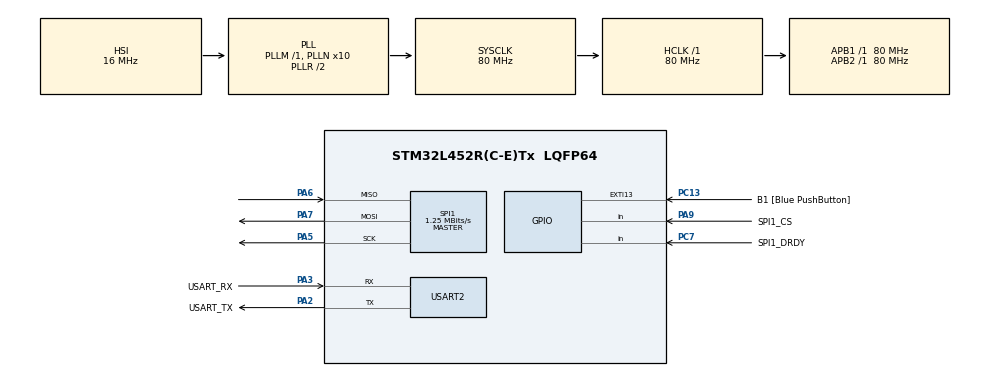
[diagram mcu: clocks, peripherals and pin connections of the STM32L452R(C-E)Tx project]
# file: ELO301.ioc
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Mcu.Family=STM32L4
Mcu.Name=STM32L452R(C-E)Tx
Mcu.Package=LQFP64
NVIC.PriorityGroup=NVIC_PRIORITYGROUP_4
PA13\ (JTMS/SWDIO).GPIO_Label=TMS
PA13\ (JTMS/SWDIO).Mode=Serial_Wire
PA13\ (JTMS/SWDIO).Signal=SYS_JTMS-SWDIO
PA14\ (JTCK/SWCLK).GPIO_Label=TCK
PA14\ (JTCK/SWCLK).Mode=Serial_Wire
PA14\ (JTCK/SWCLK).Signal=SYS_JTCK-SWCLK
PA2.GPIO_Label=USART_TX
PA2.GPIO_Mode=GPIO_MODE_AF_PP
PA2.GPIO_PuPd=GPIO_NOPULL
PA2.GPIO_Speed=GPIO_SPEED_FREQ_VERY_HIGH
PA2.Mode=Asynchronous
PA2.Signal=USART2_TX
PA3.GPIO_Label=USART_RX
PA3.GPIO_Mode=GPIO_MODE_AF_PP
PA3.GPIO_PuPd=GPIO_NOPULL
PA3.GPIO_Speed=GPIO_SPEED_FREQ_VERY_HIGH
PA3.Mode=Asynchronous
PA3.Signal=USART2_RX
PA5.Mode=Full_Duplex_Master
PA5.Signal=SPI1_SCK
PA6.Mode=Full_Duplex_Master
PA6.Signal=SPI1_MISO
PA7.Mode=Full_Duplex_Master
PA7.Signal=SPI1_MOSI
PA9.GPIO_Label=SPI1_CS
PA9.Signal=GPIO_Input
PB3\ (JTDO/TRACESWO).GPIO_Label=SWO
PB3\ (JTDO/TRACESWO).Signal=SYS_JTDO-SWO
PC13.GPIO_Label=B1 [Blue PushButton]
PC13.GPIO_ModeDefaultEXTI=GPIO_MODE_IT_FALLING
PC13.GPIO_PuPd=GPIO_NOPULL
PC13.Signal=GPXTI13
PC14-OSC32_IN\ (PC14).Mode=LSE-External-Oscillator
PC14-OSC32_IN\ (PC14).Signal=RCC_OSC32_IN
PC15-OSC32_OUT\ (PC15).Mode=LSE-External-Oscillator
PC15-OSC32_OUT\ (PC15).Signal=RCC_OSC32_OUT
PC7.GPIO_Label=SPI1_DRDY
PC7.Signal=GPIO_Input
PH0-OSC_IN\ (PH0).Signal=RCC_OSC_IN
PH1-OSC_OUT\ (PH1).Signal=RCC_OSC_OUT
ProjectManager.HeapSize=0x200
ProjectManager.StackSize=0x400
ProjectManager.TargetToolchain=STM32CubeIDE
RCC.ADCFreq_Value=64000000
RCC.AHBFreq_Value=80000000
RCC.APB1Freq_Value=80000000
RCC.APB1TimFreq_Value=80000000
RCC.APB2Freq_Value=80000000
RCC.APB2TimFreq_Value=80000000
RCC.CortexFreq_Value=80000000
RCC.HCLKFreq_Value=80000000
RCC.HSE_VALUE=8000000
RCC.HSI48_VALUE=48000000
RCC.HSI_VALUE=16000000
RCC.MSI_VALUE=4000000
RCC.PLLN=10
RCC.PLLSourceVirtual=RCC_PLLSOURCE_HSI
RCC.PREFETCH_ENABLE=1
RCC.SYSCLKFreq_VALUE=80000000
RCC.SYSCLKSource=RCC_SYSCLKSOURCE_PLLCLK
RCC.USBFreq_Value=64000000
RCC.VCOOutputFreq_Value=160000000
SPI1.BaudRatePrescaler=SPI_BAUDRATEPRESCALER_64
SPI1.CLKPhase=SPI_PHASE_2EDGE
SPI1.CalculateBaudRate=1.25 MBits/s
SPI1.DataSize=SPI_DATASIZE_8BIT
SPI1.Direction=SPI_DIRECTION_2LINES
SPI1.Mode=SPI_MODE_MASTER
SPI1.VirtualType=VM_MASTER
USART2.VirtualMode-Asynchronous=VM_ASYNC
board=NUCLEO-L452RE

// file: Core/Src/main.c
/* USER CODE BEGIN Header */
/**
  ******************************************************************************
  * @file           : main.c
  * @brief          : Main program body
  ******************************************************************************
  * @attention
  *
  * Copyright (c) 2024 STMicroelectronics.
  * All rights reserved.
  *
  * This software is licensed under terms that can be found in the LICENSE file
  * in the root directory of this software component.
  * If no LICENSE file comes with this software, it is provided AS-IS.
  *
  ******************************************************************************
  */
/* USER CODE END Header */
#include "main.h"

/* USER CODE BEGIN Includes */
#include "stdio.h"
#include "ads1220.h"
#include "math.h"
/* USER CODE END Includes */

/* USER CODE BEGIN PD */
#define N 1000  // Numero de muestras para calcular la sumatoria
/* USER CODE END PD */

SPI_HandleTypeDef hspi1;

UART_HandleTypeDef huart2;

/* USER CODE BEGIN PV */
uint16_t adc_buffer[N];  // ADC buffer to store samples
float valor_rms;
/* USER CODE END PV */

void SystemClock_Config(void);
static void MX_GPIO_Init(void);
static void MX_USART2_UART_Init(void);
static void MX_SPI1_Init(void);
void calcular_rms();

/* USER CODE BEGIN 0 */

void calcular_rms() {

	float suma_cuadrados = 0.0f;

    // Se hace la suma acomulada de cuadrados
    for (int i = 0; i < N; i++) {
        float current = (float)(adc_buffer[i]); // Revisar si es necesario centrar en cero ( - 2048, o algun otro numero)
        suma_cuadrados += current * current;
    }

    // Se divide la suma por el numero de muestras
    float mean_square = suma_cuadrados / N;

    // Se calcula la raiz cuadrada para obtener rms
    valor_rms = sqrtf(mean_square);
}
/* USER CODE END 0 */

int main(void)
{
  /* USER CODE BEGIN 1 */
  char uart_buf[50];
  int uart_buf_len;
  char spi_buf[20];
  uint16_t sample_counter = 0;
  /* USER CODE END 1 */

  /* MCU Configuration--------------------------------------------------------*/

  /* Reset of all peripherals, Initializes the Flash interface and the Systick. */
  HAL_Init();

  /* Configure the system clock */
  SystemClock_Config();

  /* Initialize all configured peripherals */
  MX_GPIO_Init();
  MX_USART2_UART_Init();
  MX_SPI1_Init();
  /* USER CODE BEGIN 2 */

  ADS1220_Select();//!CS=0

  //Say something
  uart_buf_len=sprintf(uart_buf,"SPI test:\r\n");
  HAL_UART_Transmit(&huart2, (uint8_t *)uart_buf, uart_buf_len, 100);

  //Leer registros 0 y 1 ADC
  uint8_t command_leer=0x21;
  uint8_t recive_data[2];

  HAL_SPI_Transmit(&hspi1, &command_leer, 1, HAL_MAX_DELAY);
  HAL_SPI_Receive(&hspi1, recive_data, 2, HAL_MAX_DELAY);

  //Envio uart
  uart_buf_len=sprintf(uart_buf,"Registro 0: 0x%02X, Registro 1: 0x%02X\r\n",recive_data[0],recive_data[1]);
  HAL_UART_Transmit(&huart2, (uint8_t *)uart_buf, uart_buf_len, 100);

  //escribir registro 1 CM=1
  uint8_t command_escribir=0x44;
  uint8_t gain2=0b0100;

  HAL_SPI_Transmit(&hspi1, &command_escribir, 1, HAL_MAX_DELAY);
  HAL_SPI_Transmit(&hspi1, &gain2, 1, HAL_MAX_DELAY);

  //Se recomienda luego de Write CM=1, realizar un START CMD
  uint8_t start_command=ADS1220_START_SYNC_CMD;
  HAL_SPI_Transmit(&hspi1, &start_command, 1, HAL_MAX_DELAY);

  //Leer reg
  HAL_SPI_Transmit(&hspi1, &command_leer, 1, HAL_MAX_DELAY);
  HAL_SPI_Receive(&hspi1, recive_data, 2, HAL_MAX_DELAY);

  //Envio uart
  uart_buf_len=sprintf(uart_buf,"Registro Nuevo 0: 0x%02X, Registro Nuevo 1: 0x%02X\r\n",recive_data[0],recive_data[1]);
  HAL_UART_Transmit(&huart2, (uint8_t *)uart_buf, uart_buf_len, 100);

  uart_buf[50]=0;
  /* USER CODE END 2 */

  /* Infinite loop */
  /* USER CODE BEGIN WHILE */
  int32_t conversionResult;
  while (1)
  {
	  ADS1220_ReadData(&conversionResult);
	  //uart_buf_len=sprintf(uart_buf,"Data read: 0x%02X \r\n",conversionResult);
	  uart_buf_len=sprintf(uart_buf,"RMS Data: 0x%02X \r\n",(int32_t)valor_rms);
	  HAL_UART_Transmit(&huart2, (uint8_t *)uart_buf, uart_buf_len, 100);

	  if(sample_counter < N) {
		  adc_buffer[sample_counter] = conversionResult;
		  sample_counter++;
	  } else {
		  calcular_rms();
		  sample_counter = 0;
	  }
	  // enviar valor_rms a la pantalla
	  HAL_Delay(10);

    /* USER CODE END WHILE */

  }
}

void SystemClock_Config(void)
{
  RCC_OscInitTypeDef RCC_OscInitStruct = {0};
  RCC_ClkInitTypeDef RCC_ClkInitStruct = {0};

  /** Configure the main internal regulator output voltage
  */
  if (HAL_PWREx_ControlVoltageScaling(PWR_REGULATOR_VOLTAGE_SCALE1) != HAL_OK)
  {
    Error_Handler();
  }

  /** Initializes the RCC Oscillators according to the specified parameters
  * in the RCC_OscInitTypeDef structure.
  */
  RCC_OscInitStruct.OscillatorType = RCC_OSCILLATORTYPE_HSI;
  RCC_OscInitStruct.HSIState = RCC_HSI_ON;
  RCC_OscInitStruct.HSICalibrationValue = RCC_HSICALIBRATION_DEFAULT;
  RCC_OscInitStruct.PLL.PLLState = RCC_PLL_ON;
  RCC_OscInitStruct.PLL.PLLSource = RCC_PLLSOURCE_HSI;
  RCC_OscInitStruct.PLL.PLLM = 1;
  RCC_OscInitStruct.PLL.PLLN = 10;
  RCC_OscInitStruct.PLL.PLLP = RCC_PLLP_DIV7;
  RCC_OscInitStruct.PLL.PLLQ = RCC_PLLQ_DIV2;
  RCC_OscInitStruct.PLL.PLLR = RCC_PLLR_DIV2;
  if (HAL_RCC_OscConfig(&RCC_OscInitStruct) != HAL_OK)
  {
    Error_Handler();
  }

  /** Initializes the CPU, AHB and APB buses clocks
  */
  RCC_ClkInitStruct.ClockType = RCC_CLOCKTYPE_HCLK|RCC_CLOCKTYPE_SYSCLK
                              |RCC_CLOCKTYPE_PCLK1|RCC_CLOCKTYPE_PCLK2;
  RCC_ClkInitStruct.SYSCLKSource = RCC_SYSCLKSOURCE_PLLCLK;
  RCC_ClkInitStruct.AHBCLKDivider = RCC_SYSCLK_DIV1;
  RCC_ClkInitStruct.APB1CLKDivider = RCC_HCLK_DIV1;
  RCC_ClkInitStruct.APB2CLKDivider = RCC_HCLK_DIV1;

  if (HAL_RCC_ClockConfig(&RCC_ClkInitStruct, FLASH_LATENCY_4) != HAL_OK)
  {
    Error_Handler();
  }
}

static void MX_SPI1_Init(void)
{

  /* SPI1 parameter configuration*/
  hspi1.Instance = SPI1;
  hspi1.Init.Mode = SPI_MODE_MASTER;
  hspi1.Init.Direction = SPI_DIRECTION_2LINES;
  hspi1.Init.DataSize = SPI_DATASIZE_8BIT;
  hspi1.Init.CLKPolarity = SPI_POLARITY_LOW;
  hspi1.Init.CLKPhase = SPI_PHASE_2EDGE;
  hspi1.Init.NSS = SPI_NSS_SOFT;
  hspi1.Init.BaudRatePrescaler = SPI_BAUDRATEPRESCALER_64;
  hspi1.Init.FirstBit = SPI_FIRSTBIT_MSB;
  hspi1.Init.TIMode = SPI_TIMODE_DISABLE;
  hspi1.Init.CRCCalculation = SPI_CRCCALCULATION_DISABLE;
  hspi1.Init.CRCPolynomial = 7;
  hspi1.Init.CRCLength = SPI_CRC_LENGTH_DATASIZE;
  hspi1.Init.NSSPMode = SPI_NSS_PULSE_DISABLE;
  if (HAL_SPI_Init(&hspi1) != HAL_OK)
  {
    Error_Handler();
  }

}

static void MX_USART2_UART_Init(void)
{

  huart2.Instance = USART2;
  huart2.Init.BaudRate = 115200;
  huart2.Init.WordLength = UART_WORDLENGTH_8B;
  huart2.Init.StopBits = UART_STOPBITS_1;
  huart2.Init.Parity = UART_PARITY_NONE;
  huart2.Init.Mode = UART_MODE_TX_RX;
  huart2.Init.HwFlowCtl = UART_HWCONTROL_NONE;
  huart2.Init.OverSampling = UART_OVERSAMPLING_16;
  huart2.Init.OneBitSampling = UART_ONE_BIT_SAMPLE_DISABLE;
  huart2.AdvancedInit.AdvFeatureInit = UART_ADVFEATURE_NO_INIT;
  if (HAL_UART_Init(&huart2) != HAL_OK)
  {
    Error_Handler();
  }

}

static void MX_GPIO_Init(void)
{
  GPIO_InitTypeDef GPIO_InitStruct = {0};

  /* GPIO Ports Clock Enable */
  __HAL_RCC_GPIOC_CLK_ENABLE();
  __HAL_RCC_GPIOH_CLK_ENABLE();
  __HAL_RCC_GPIOA_CLK_ENABLE();
  __HAL_RCC_GPIOB_CLK_ENABLE();

  /*Configure GPIO pin : B1_Pin */
  GPIO_InitStruct.Pin = B1_Pin;
  GPIO_InitStruct.Mode = GPIO_MODE_IT_FALLING;
  GPIO_InitStruct.Pull = GPIO_NOPULL;
  HAL_GPIO_Init(B1_GPIO_Port, &GPIO_InitStruct);

  /*Configure GPIO pin : SPI1_DRDY_Pin */
  GPIO_InitStruct.Pin = SPI1_DRDY_Pin;
  GPIO_InitStruct.Mode = GPIO_MODE_INPUT;
  GPIO_InitStruct.Pull = GPIO_NOPULL;
  HAL_GPIO_Init(SPI1_DRDY_GPIO_Port, &GPIO_InitStruct);

  /*Configure GPIO pin : SPI1_CS_Pin */
  GPIO_InitStruct.Pin = SPI1_CS_Pin;
  GPIO_InitStruct.Mode = GPIO_MODE_INPUT;
  GPIO_InitStruct.Pull = GPIO_NOPULL;
  HAL_GPIO_Init(SPI1_CS_GPIO_Port, &GPIO_InitStruct);

}

void Error_Handler(void)
{
  __disable_irq();
  while (1)
  {
  }
}
